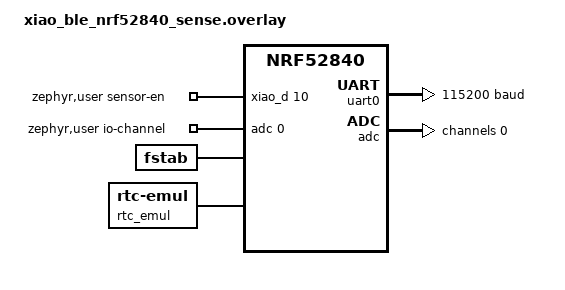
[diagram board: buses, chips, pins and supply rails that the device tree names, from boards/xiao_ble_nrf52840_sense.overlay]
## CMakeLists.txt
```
# SPDX-License-Identifier: Apache-2.0
cmake_minimum_required(VERSION 3.20.0)

find_package(Zephyr REQUIRED HINTS $ENV{ZEPHYR_BASE})
project(snowgauge_fw LANGUAGES C)

target_sources(app PRIVATE
  src/main.c
  src/sensor_rail.c
  src/lidar.c
  src/battery.c
  src/tilt_lsm6dsl.c
  src/power.c
  src/usb_pm.c
  src/measure.c
  src/record.c
  src/timekeeping.c
  src/storage.c
  src/ble_adv.c
  src/smp_mgmt.c
  src/config.c
  src/cal_gatt.c
  src/shell_cmds.c
  src/diag.c
  src/wdt_mon.c
)
# Sensor backend (Kconfig choice SNOWGAUGE_SENSOR; overlay-tsd20.conf selects the TSD20)
target_sources_ifdef(CONFIG_SNOWGAUGE_SENSOR_TFMINI app PRIVATE src/tfmini.c)
target_sources_ifdef(CONFIG_SNOWGAUGE_SENSOR_TSD20 app PRIVATE src/tsd20.c)
```

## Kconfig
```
# SnowGauge application options

menu "SnowGauge application"

choice SNOWGAUGE_SENSOR
	prompt "Distance sensor (hardware variant, spec section 3.2)"
	default SNOWGAUGE_SENSOR_TFMINI
	help
	  Both variants share PCB v1.2; only U2 (sensor LDO) and the sensor
	  differ. Select with overlay-tsd20.conf for the TSD20 build.

config SNOWGAUGE_SENSOR_TFMINI
	bool "Benewake TFmini Plus (5 V, U2 = NJU7223F50, 115200 baud)"

config SNOWGAUGE_SENSOR_TSD20
	bool "PONO TSD20 (3.3 V, U2 = NJU7223F33, 460800 baud)"

endchoice

config SNOWGAUGE_RAIL_SETTLE_MS
	int "Sensor rail settle time before touching the UART (ms)"
	default 300
	help
	  Delay between driving SENSOR_EN high and resuming the sensor UART.
	  Covers LDO start-up, the 470uF OS-CON charge and the sensor boot.

config SNOWGAUGE_LIDAR_SAMPLES
	int "Number of LiDAR frames per measurement (N)"
	default 100
	range 1 512
	help
	  Frames collected per measurement cycle; the median, variance and
	  quality counters are computed over this burst. 100 frames take
	  about 1 s on the TFmini Plus (100 Hz) and 0.5 s on the TSD20 (200 Hz).

config SNOWGAUGE_LIDAR_CAPTURE_TIMEOUT_MS
	int "Maximum time to wait for the N frames (ms)"
	default 3000

config SNOWGAUGE_LIDAR_RETRY
	bool "Power-cycle the sensor and retry once when a capture yields no frames"
	default y
	help
	  A sensor that does not answer at all (0 frames within the capture
	  timeout) is switched off for SNOWGAUGE_LIDAR_RETRY_OFF_MS and the
	  capture is repeated once. The record then carries the RETRIED flag.

config SNOWGAUGE_LIDAR_RETRY_OFF_MS
	int "Sensor rail off time before the retry (ms)"
	default 1000
	depends on SNOWGAUGE_LIDAR_RETRY

config SNOWGAUGE_TIME_SAVE_MIN
	int "Period of the wall-clock checkpoint in the settings (min, 0 = off)"
	default 60
	help
	  The clock is lost on reset and otherwise restored from the newest
	  record only. Saving it periodically (NVS key sgt/epoch) bounds the
	  error after a watchdog reset to this period even when no record was
	  written for days.

config SNOWGAUGE_TFMINI_MIN_STRENGTH
	int "Minimum TFmini signal strength for a distance to count as valid"
	default 100
	depends on SNOWGAUGE_SENSOR_TFMINI
	help
	  Benewake documents distances as unreliable below a strength of 100.

choice SNOWGAUGE_SENSOR_AXIS
	prompt "Direction of the LiDAR optical axis in the IMU frame"
	default SNOWGAUGE_SENSOR_AXIS_NEG_Y
	help
	  The tilt angle is measured between gravity and this axis, so it is
	  the deviation of the laser from nadir whatever way the PCB is mounted.

config SNOWGAUGE_SENSOR_AXIS_NEG_Y
	bool "IMU -Y points down: PCB vertical, USB to the left, sensor terminal J2 up (enclosure v1)"
	help
	  Mounting orientation since 2026-09-11 (180 deg in-plane from the
	  earlier one): USB to the left, J2 up, battery terminal J1 to the
	  right, D0-D6 (TX) pin row down. The accelerometer then reads
	  a = (0, +1, 0) g, i.e. -Y points down along the laser (it reads
	  +1 g on the axis that points up). pitch = component toward +X
	  (in-plane, battery side), roll = component toward +Z (out of plane,
	  component side).

config SNOWGAUGE_SENSOR_AXIS_POS_Y
	bool "IMU +Y points down: PCB vertical, USB to the right, D0-D6 (TX) pin row up"
	help
	  The mirror image of the above, used between 2026-09-07 and
	  2026-09-11: the accelerometer reads a = (0, -1, 0) g. pitch and roll
	  keep their meaning (+X in-plane, +Z out of plane).

config SNOWGAUGE_SENSOR_AXIS_Z
	bool "IMU +/-Z: PCB horizontal (flat breadboard on the bench)"
	help
	  Either face up. pitch = component toward +X, roll = toward +Y.
	  Firmware before 2026-09-07 always used this.

endchoice

config SNOWGAUGE_TILT_SAMPLES
	int "Accelerometer samples averaged per tilt reading"
	default 16
	range 1 255

config SNOWGAUGE_IMU_POWER_GATE
	bool "Cut the IMU supply between readings"
	default y
	help
	  Disable the on-board LSM6DS3TR-C regulator (P1.08) while idle instead
	  of relying on the chip's power-down mode.

config SNOWGAUGE_AUTO_MEASURE_PERIOD_S
	int "Automatic measurement period at boot (s, 0 = shell only)"
	default 0
	help
	  When non-zero the firmware runs a full measurement cycle every N
	  seconds without any shell interaction. Can be changed at run time
	  with the 'auto' shell command.

config SNOWGAUGE_BLE_ADV_INT_MIN_MS
	int "BLE advertising interval, minimum (ms)"
	default 1000
	range 20 10240
	help
	  Spec section 12.2: 1-2 s. The interval is the main BLE power knob;
	  can be changed at run time with the 'ble adv' shell command.

config SNOWGAUGE_BLE_ADV_INT_MAX_MS
	int "BLE advertising interval, maximum (ms)"
	default 2000
	range 20 10240

config SNOWGAUGE_VBAT_MIN_MV
	int "Minimum battery voltage for a LiDAR capture (mV)"
	default 4600 if SNOWGAUGE_SENSOR_TFMINI
	default 3800 if SNOWGAUGE_SENSOR_TSD20
	help
	  Below this the sensor LDO is out of regulation and the capture burst
	  can brown out the board; the measurement then records only Vbat,
	  tilt and temperature. TFmini Plus: 5 V LDO + 120 mA. TSD20: 3.3 V
	  LDO (0.4 V dropout) + 70 mA, i.e. nearly the whole L91 capacity.

config SNOWGAUGE_BOOT_HOLDOFF_MIN
	int "Delay of the first scheduled measurement after a reset (min)"
	default 10
	help
	  A reset restores the clock from the last record, which would make the
	  scheduler fire immediately (and again after every brown-out reset).
	  The first scheduled measurement is held off by this many minutes,
	  multiplied by the boot count since the last stored, non-skipped burst
	  or BLE connection (multiplier capped at 12).

config SNOWGAUGE_BOOT_MAX_RESETS
	int "Consecutive resets after which scheduled measurements are halted"
	default 12
	range 2 15
	help
	  Counted in NVS, cleared after a sensor rail burst is attempted and its
	  record is stored, or on BLE connection. Low-battery skips do not clear
	  it; valid distance data is not required. At this count scheduled
	  measurements halt while BLE keeps advertising. A BLE connection drops
	  the halt; a stored, non-skipped manual burst followed by reboot also
	  recovers. Reboot alone does not:
	  a reset loop (brown-out, crash) then cannot drain the cells.

config SNOWGAUGE_WDT_TIMEOUT_S
	int "Hardware watchdog timeout (s)"
	default 120
	range 30 3600
	help
	  Fed every quarter of this period by the supervisor in wdt_mon.c while
	  all subsystems are alive. Must be comfortably longer than the
	  bootloader's start-up (it feeds the WDT itself only in the DFU wait
	  loop) and the longest sensor capture.

config SNOWGAUGE_SCHED_DEFAULT_INTERVAL_MIN
	int "Default measurement interval until configured (min, 0 = off)"
	default 180
	help
	  Spec: 8 measurements/day. Overridden by the stored sg/sched/* settings.

config SNOWGAUGE_SCHED_DEFAULT_TZ_MIN
	int "Default UTC offset of the site (min)"
	default 540

endmenu

source "Kconfig.zephyr"
```

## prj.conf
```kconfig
# SnowGauge firmware - step 1: scaffold + TFmini UART test
# Board: xiao_ble/nrf52840/sense  (Seeed XIAO nRF52840 Sense)

# --- Peripherals ---
CONFIG_GPIO=y
CONFIG_SERIAL=y
CONFIG_UART_INTERRUPT_DRIVEN=y
# lidar_init() sets the sensor baud rate at run time (TFmini 115200 / TSD20 460800);
# without this uart_configure() returns -ENOTSUP and the DT rate (115200) stays.
CONFIG_UART_USE_RUNTIME_CONFIGURE=y
CONFIG_ADC=y
CONFIG_RING_BUFFER=y

# On-board IMU (LSM6DS3TR-C on i2c0) via the lsm6dsl driver; accel only
CONFIG_I2C=y
CONFIG_SENSOR=y
CONFIG_LSM6DSL_ENABLE_TEMP=y
CONFIG_FPU=y

# QSPI flash driver so it can be put into deep power-down (records later)
CONFIG_FLASH=y
CONFIG_NORDIC_QSPI_NOR=y

# Device power management: lets us suspend the TFmini UART so that its
# pins go Hi-Z before the sensor rail is cut (ghost-powering countermeasure,
# spec section 12.3).
CONFIG_PM_DEVICE=y

# --- Console / shell over USB CDC ACM ---
# The xiao_ble board already routes zephyr,console / zephyr,shell-uart to a
# CDC ACM instance (USB device_next stack, initialized at boot).
CONFIG_CDC_ACM_SERIAL_PRODUCT_STRING="SnowGauge"
# Do not enable USB at boot: udc_nrf keeps HFXO + USBD on regardless of VBUS
# (~1.8 mA). usb_pm.c enables the device only while VBUS is present.
CONFIG_CDC_ACM_SERIAL_ENABLE_AT_BOOT=n
CONFIG_UART_LINE_CTRL=y
CONFIG_SHELL=y
CONFIG_SHELL_BACKEND_SERIAL=y
CONFIG_SHELL_PROMPT_UART="sg:~$ "
CONFIG_LOG=y
CONFIG_LOG_DEFAULT_LEVEL=3
CONFIG_CBPRINTF_FP_SUPPORT=y

# --- Misc ---
CONFIG_MAIN_STACK_SIZE=4096
CONFIG_SHELL_STACK_SIZE=4096
CONFIG_BUILD_OUTPUT_UF2=y
CONFIG_REBOOT=y
# Hardware watchdog (wdt_mon.c) + boot diagnostics (diag.c: reset cause via hwinfo,
# fatal errors reboot instead of halting - our own k_sys_fatal_error_handler, so
# CONFIG_RESET_ON_FATAL_ERROR stays off).
CONFIG_WATCHDOG=y

# Debug helpers
CONFIG_SENSOR_SHELL=y
CONFIG_DEVICE_SHELL=y

# --- Record storage (step 4a) ---
# LittleFS on the QSPI flash; internal-flash mirror through flash_map.
CONFIG_FILE_SYSTEM=y
CONFIG_FILE_SYSTEM_LITTLEFS=y
CONFIG_FLASH_MAP=y
CONFIG_FLASH_PAGE_LAYOUT=y
CONFIG_FS_LITTLEFS_NUM_FILES=2
CONFIG_FS_LITTLEFS_NUM_DIRS=2
# QSPI flash: runtime PM = deep power-down between accesses (see overlay).
CONFIG_PM_DEVICE_RUNTIME=y
# Only devices with zephyr,pm-device-runtime-auto (the QSPI flash) get runtime
# PM. The Nordic default would enable it for every device, and the UARTE
# driver would then re-activate the TFmini UART (TX high) while the rail is
# off - the ghost-powering case sensor_rail.c exists to prevent.
CONFIG_PM_DEVICE_RUNTIME_DEFAULT_ENABLE=n
CONFIG_NORDIC_QSPI_NOR_ACTIVE_DWELL_MS=50
# Wall clock: emulated RTC behind the `rtc` alias (timekeeping.c).
CONFIG_RTC=y
# CRC-16 for the record checksum
CONFIG_CRC=y

# --- BLE (step 4b: status advertising; SMP + calibration GATT follow) ---
CONFIG_BT=y
CONFIG_BT_PERIPHERAL=y
CONFIG_BT_DEVICE_NAME="SnowGauge"
CONFIG_BT_DEVICE_NAME_DYNAMIC=y
CONFIG_BT_DEVICE_NAME_MAX=16
CONFIG_BT_MAX_CONN=1
CONFIG_HWINFO=y
# Larger ACL / L2CAP buffers so SMP file download runs at a usable speed
CONFIG_BT_L2CAP_TX_MTU=498
CONFIG_BT_BUF_ACL_RX_SIZE=502
CONFIG_BT_BUF_ACL_TX_SIZE=502
CONFIG_BT_CTLR_DATA_LENGTH_MAX=251

# --- SMP / mcumgr over BLE (step 4c): fs download + os datetime/echo/reset ---
CONFIG_NET_BUF=y
CONFIG_ZCBOR=y
CONFIG_MCUMGR=y
CONFIG_MCUMGR_TRANSPORT_BT=y
CONFIG_MCUMGR_TRANSPORT_BT_PERM_RW=y
CONFIG_MCUMGR_TRANSPORT_BT_CONN_PARAM_CONTROL=y
CONFIG_MCUMGR_TRANSPORT_BT_REASSEMBLY=y
CONFIG_MCUMGR_TRANSPORT_NETBUF_SIZE=2475
CONFIG_MCUMGR_TRANSPORT_WORKQUEUE_STACK_SIZE=4608
CONFIG_MCUMGR_GRP_OS=y
CONFIG_MCUMGR_GRP_OS_ECHO=y
CONFIG_MCUMGR_GRP_OS_DATETIME=y
CONFIG_MCUMGR_GRP_OS_DATETIME_HOOK=y
CONFIG_MCUMGR_GRP_OS_MCUMGR_PARAMS=y
CONFIG_MCUMGR_GRP_OS_INFO=y
CONFIG_MCUMGR_GRP_FS=y
CONFIG_MCUMGR_GRP_FS_MAX_FILE_SIZE_4GB=y
CONFIG_MCUMGR_GRP_FS_FILE_ACCESS_HOOK=y
CONFIG_MCUMGR_MGMT_NOTIFICATION_HOOKS=y
CONFIG_BASE64=y
CONFIG_SYSTEM_WORKQUEUE_STACK_SIZE=2304
# SMP also over the USB shell (bench: smpmgr/smpclient on the dev PC, e.g. datetime)
CONFIG_MCUMGR_TRANSPORT_SHELL=y

# --- Settings (step 4d): schedule + calibration in the internal storage partition ---
CONFIG_NVS=y
CONFIG_SETTINGS=y
CONFIG_SETTINGS_NVS=y
CONFIG_SETTINGS_RUNTIME=y
CONFIG_MCUMGR_GRP_SETTINGS=y
CONFIG_MCUMGR_GRP_SETTINGS_NAME_LEN=32
CONFIG_MCUMGR_GRP_SETTINGS_VALUE_LEN=32
# Calibration GATT
CONFIG_BT_GATT_CLIENT=n
```

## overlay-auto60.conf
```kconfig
# Sleep-current test build: measure every 60 s without any shell interaction.
# west build ... -- -DEXTRA_CONF_FILE=overlay-auto60.conf
CONFIG_SNOWGAUGE_AUTO_MEASURE_PERIOD_S=60
```

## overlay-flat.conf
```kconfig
# Bench variant: PCB lying flat (breadboard), LiDAR axis = IMU Z.
# Build with -- -DEXTRA_CONF_FILE=overlay-flat.conf (combine with the sensor overlay if needed).
CONFIG_SNOWGAUGE_SENSOR_AXIS_Z=y
```

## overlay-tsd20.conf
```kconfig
# TSD20 hardware variant: U2 = NJU7223F33 (3.3 V sensor rail), PONO TSD20 on D6/D7.
# west build ... -- -DEXTRA_CONF_FILE=overlay-tsd20.conf
# (combine with overlay-auto60.conf via -DEXTRA_CONF_FILE="overlay-tsd20.conf;overlay-auto60.conf")
CONFIG_SNOWGAUGE_SENSOR_TSD20=y
```

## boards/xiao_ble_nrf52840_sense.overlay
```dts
/*
 * SnowGauge board overlay for Seeed XIAO nRF52840 Sense on PCB v1.2.
 * Pin map source of truth: pcb/README.md
 *
 *   D10 (P1.15) SENSOR_EN  high = sensor rail ON (Q2 -> Q1 high-side switch)
 *   A0  (P0.02) ADC_NODE   VBAT_SW / 2 (1M + 1M divider, 0 V while rail off)
 *   D6  (P1.11) UART TX    -> 1k (R7) -> sensor RX (TFmini white / TSD20 pin 4)
 *   D7  (P1.12) UART RX    <- sensor TX (TFmini green / TSD20 pin 3)
 *   D4/D5       I2C        spare header J3
 */

#include <zephyr/dt-bindings/adc/adc.h>
#include <zephyr/dt-bindings/adc/nrf-adc.h>

/ {
	/*
	 * Console + shell: the board already routes zephyr,console and
	 * zephyr,shell-uart to USB CDC ACM (board_cdc_acm_uart), so uart0 is free
	 * for the distance sensor.
	 */

	zephyr,user {
		sensor-en-gpios = <&xiao_d 10 GPIO_ACTIVE_HIGH>;
		io-channels = <&adc 0>;
	};

	aliases {
		lidar-uart = &uart0;
	};
};

/*
 * Distance sensor UART (board default pins D6/D7). The rate here is the
 * TFmini Plus one; lidar_init() reconfigures it at run time from the
 * selected backend (TSD20 = 460800).
 */
&uart0 {
	status = "okay";
	current-speed = <115200>;
};

&adc {
	status = "okay";
	#address-cells = <1>;
	#size-cells = <0>;

	/*
	 * Battery divider on A0. Full scale = 0.6 V * 6 = 3.6 V, which covers
	 * VBAT_SW/2 up to 7.2 V (fresh L91 x4). The 500k source impedance
	 * needs the longest SAADC acquisition time (40 us, good to 800k).
	 */
	channel@0 {
		reg = <0>;
		zephyr,gain = "ADC_GAIN_1_6";
		zephyr,reference = "ADC_REF_INTERNAL";
		zephyr,acquisition-time = <ADC_ACQ_TIME(ADC_ACQ_TIME_MICROSECONDS, 40)>;
		zephyr,input-positive = <NRF_SAADC_AIN0>;
		zephyr,resolution = <12>;
		zephyr,oversampling = <4>;
	};
};


/*
 * The on-board IMU is powered by a GPIO regulator that the board enables
 * at boot with only a 3 ms start-up delay; the LSM6DS3TR-C needs ~15 ms
 * before it answers on I2C, so its driver init fails when run from the
 * init tables. Defer it and let tilt_init() initialise it after a delay.
 */
&lsm6ds3tr_c {
	zephyr,deferred-init;
};

/*
 * Record storage (step 4a).
 *
 * QSPI (2 MB P25Q16H): one LittleFS partition over the whole chip. The
 * driver uses runtime PM so the chip sits in deep power-down between
 * accesses (~1 uA) without any help from the application.
 */
&p25q16h {
	zephyr,pm-device-runtime-auto;

	partitions {
		compatible = "fixed-partitions";
		#address-cells = <1>;
		#size-cells = <1>;

		lfs1_part: partition@0 {
			label = "lfs";
			reg = <0x00000000 0x00200000>;
		};
	};
};

/ {
	fstab {
		compatible = "zephyr,fstab";

		lfs1: lfs1 {
			compatible = "zephyr,fstab,littlefs";
			mount-point = "/lfs1";
			partition = <&lfs1_part>;
			read-size = <16>;
			prog-size = <16>;
			cache-size = <64>;
			lookahead-size = <32>;
			block-cycles = <512>;
		};
	};

	/* Emulated calendar clock behind the `rtc` alias (timekeeping.c, mcumgr datetime). */
	rtc_emul: rtc-emul {
		compatible = "zephyr,rtc-emul";
		status = "okay";
	};

	aliases {
		rtc = &rtc_emul;
	};
};

/*
 * Internal flash (1 MB). The board's UF2 layout gives the application
 * 788 kB; SnowGauge needs < 480 kB even with BLE, so the tail of that
 * region becomes the record mirror (308 kB = 7,884 records of 40 B).
 *
 *   0x00000  156 kB  Adafruit bootloader + SoftDevice area (untouched)
 *   0x27000  480 kB  Application (this image)
 *   0x9F000  308 kB  mirror_partition (raw append-only records)
 *   0xEC000   32 kB  storage_partition (settings, future calibration data)
 *   0xF4000   48 kB  bootloader UF2 area (untouched)
 */
&code_partition {
	reg = <0x00027000 0x00078000>;
};

&flash0 {
	partitions {
		mirror_partition: partition@9f000 {
			label = "mirror";
			reg = <0x0009f000 0x0004d000>;
		};
	};
};
```

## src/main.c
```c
/*
 * SnowGauge firmware.
 *
 * Boots with the sensor rail off and the sensor UART parked (Hi-Z), opens a
 * shell on USB CDC ACM, and optionally runs a measurement cycle every
 * CONFIG_SNOWGAUGE_AUTO_MEASURE_PERIOD_S seconds.
 */

#include <zephyr/kernel.h>
#include <nrfx.h>
#include <zephyr/logging/log.h>
#include <zephyr/sys/printk.h>
#include <stdarg.h>
#include <stdio.h>
#include <stdbool.h>

#include "app.h"
#include "sensor_rail.h"
#include "lidar.h"
#include "battery.h"
#include "measure.h"
#include "tilt.h"
#include "power.h"
#include "usb_pm.h"
#include "record.h"
#include "storage.h"
#include "timekeeping.h"
#include "ble_adv.h"
#include "config.h"
#include "cal_gatt.h"
#include "diag.h"
#include "wdt_mon.h"

LOG_MODULE_REGISTER(main, CONFIG_LOG_DEFAULT_LEVEL);

static K_SEM_DEFINE(period_changed, 0, 1);
static uint32_t auto_period_s = CONFIG_SNOWGAUGE_AUTO_MEASURE_PERIOD_S;

static void config_changed(void)
{
	k_sem_give(&period_changed);
}

void app_wake_scheduler(void)
{
	k_sem_give(&period_changed);
}

void app_set_auto_period(uint32_t seconds)
{
	auto_period_s = seconds;
	k_sem_give(&period_changed);
}

uint32_t app_get_auto_period(void)
{
	return auto_period_s;
}

static bool first_record_after_boot = true;

int app_measure_and_store(bool manual, struct measurement *m_out, struct record *r_out)
{
	struct measurement m;
	struct record r;
	uint32_t epoch = 0;
	int ret;

	wdt_mon_alive(WDT_CH_MEASURE, WDT_MEASURE_TIMEOUT_S);
	ret = measure_once(&m);
	if (m_out) {
		*m_out = m;
	}
	if (ret) {
		LOG_ERR("measurement failed (%d) - not stored", ret);
		(void)ble_adv_update(true);
		wdt_mon_disarm(WDT_CH_MEASURE);
		return ret;
	}

	record_from_measurement(&r, &m);
	if (time_now(&epoch) == 0) {
		r.epoch = epoch;
		r.flags |= (time_get_state() == TIME_SYNCED) ? RECORD_FLAG_TIME_SYNCED
							     : RECORD_FLAG_TIME_ESTIMATED;
	}
	if (manual) {
		r.flags |= RECORD_FLAG_MANUAL;
	}
	if (first_record_after_boot) {
		r.flags |= RECORD_FLAG_FIRST_AFTER_BOOT;
		first_record_after_boot = false;
	}
	r.seq = storage_next_seq();

	ret = storage_append(&r);
	if (ret) {
		LOG_ERR("record %u not stored (%d)", r.seq, ret);
	} else if (m.lidar_ret != -ENOTSUP) {
		/*
		 * Surviving the full-load rail burst and storing its record is the
		 * proof, regardless of distance validity; a low-battery skip is not.
		 */
		diag_measure_succeeded();
	}
	if (r_out) {
		*r_out = r;
	}
	(void)ble_adv_update(ret != 0);
	wdt_mon_disarm(WDT_CH_MEASURE);
	return ret;
}

static void printk_out(void *ctx, const char *fmt, ...)
{
	ARG_UNUSED(ctx);
	va_list ap;
	char line[160];

	va_start(ap, fmt);
	vsnprintf(line, sizeof(line), fmt, ap);
	va_end(ap);
	LOG_INF("%s", line);
}

int main(void)
{
	int ret;

	LOG_INF("SnowGauge FW (step 5: %s variant) - board " CONFIG_BOARD_TARGET, lidar_name());
	diag_init();

	ret = sensor_rail_init();
	if (ret) {
		LOG_ERR("sensor_rail_init: %d", ret);
	}
	ret = lidar_init();
	if (ret) {
		LOG_ERR("lidar_init: %d", ret);
	}
	ret = battery_init();
	if (ret) {
		LOG_ERR("battery_init: %d", ret);
	}
	ret = tilt_init();
	if (ret) {
		LOG_ERR("tilt_init: %d", ret);
	}
	ret = power_init();
	if (ret) {
		LOG_ERR("power_init: %d", ret);
	}
	ret = time_init();
	if (ret) {
		LOG_ERR("time_init: %d", ret);
	}
	ret = storage_init();
	if (ret) {
		LOG_ERR("storage_init: %d", ret);
	}
	ret = config_init();
	if (ret) {
		LOG_ERR("config_init: %d", ret);
	}
	(void)diag_count_boot(); /* needs the settings subsystem (config_init) */
	(void)time_restore_saved();
	(void)diag_log_boot();
	config_set_change_cb(config_changed);
	ret = ble_adv_init();
	if (ret) {
		LOG_ERR("ble_adv_init: %d", ret);
	}
	ret = cal_gatt_init();
	if (ret) {
		LOG_ERR("cal_gatt_init: %d", ret);
	}
	ret = usb_pm_init();
	if (ret) {
		LOG_ERR("usb_pm_init: %d", ret);
	}
	ret = wdt_mon_init();
	if (ret) {
		LOG_ERR("wdt_mon_init: %d", ret);
	}

	LOG_INF("ready - type 'help' in the USB shell (rail is OFF)");

	bool first = true;

	for (;;) {
		uint32_t period = auto_period_s;

		wdt_mon_alive(WDT_CH_MAIN, WDT_MAIN_TIMEOUT_S);
		if (diag_measure_halted()) {
			/* Reset loop: stay reachable over BLE, do not measure. */
			k_sem_take(&period_changed, K_MINUTES(10));
			first = true;
			continue;
		}
		if (period != 0) {
			/* Bench mode: fixed period from the shell / Kconfig. */
			if (!first && k_sem_take(&period_changed, K_SECONDS(period)) == 0) {
				first = true;
				continue;
			}
			first = false;
		} else {
			/* Field mode: schedule window from the settings, needs the clock. */
			uint32_t now, next;
			struct app_config c;

			config_get(&c);
			if (c.sched_interval_min == 0) {
				k_sem_take(&period_changed, K_MINUTES(10));
				first = true;
				continue;
			}
			/* Hold-off after a reset (see diag_init). */
			int64_t left_ms = (int64_t)diag_holdoff_until_s() * 1000 - k_uptime_get();

			if (left_ms > 0) {
				if (k_sem_take(&period_changed, K_MSEC(MIN(left_ms, 3600000))) == 0) {
					first = true;
				}
				continue;
			}
			if (time_now(&now) != 0) {
				/*
				 * Clock never set (sync forgotten at installation): still
				 * measure every interval from boot so nothing is lost; the
				 * records land in rec_notime.bin, ordered by seq.
				 */
				if (!first && k_sem_take(&period_changed, K_MINUTES(c.sched_interval_min)) == 0) {
					first = true;
					continue;
				}
				first = false;
				LOG_WRN("clock unset - measuring on the interval from boot");
			} else if ((next = config_next_measurement(now)) == 0) {
				k_sem_take(&period_changed, K_MINUTES(10));
				first = true;
				continue;
			} else if (next > now) {
				uint32_t wait_s = MIN(next - now, 3600U);

				if (k_sem_take(&period_changed, K_SECONDS(wait_s)) == 0 ||
				    wait_s < next - now) {
					continue; /* config changed, or re-evaluate hourly */
				}
			}
		}

		struct measurement m;
		struct record r;

		if (cal_live_is_on()) {
			LOG_WRN("scheduled measurement skipped: live mode active");
			k_sleep(K_SECONDS(60));
			continue;
		}
		led_pulse(50);
		if (app_measure_and_store(false, &m, &r) == 0) {
			LOG_INF("record %u stored (%u total)", r.seq, storage_record_count());
		}
		measure_print(&m, printk_out, NULL);
	}
	return 0;
}
```

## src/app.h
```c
/* Application-level state shared between main and the shell. */
#ifndef SNOWGAUGE_APP_H
#define SNOWGAUGE_APP_H

#include <stdint.h>
#include <stdbool.h>

#include "measure.h"
#include "record.h"

void app_set_auto_period(uint32_t seconds);
void app_wake_scheduler(void);
uint32_t app_get_auto_period(void);

/*
 * Run one measurement cycle and store it as a record (LittleFS + mirror).
 * manual = true marks shell/BLE-triggered records. *m / *r may be NULL.
 * Returns the storage result (0 = stored) or the measurement error.
 */
int app_measure_and_store(bool manual, struct measurement *m, struct record *r);

#endif /* SNOWGAUGE_APP_H */
```

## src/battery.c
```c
/* Battery voltage measurement - see battery.h */

#include <zephyr/kernel.h>
#include <zephyr/drivers/adc.h>
#include <zephyr/logging/log.h>
#include <errno.h>

#include "battery.h"
#include "sensor_rail.h"

LOG_MODULE_REGISTER(battery, CONFIG_LOG_DEFAULT_LEVEL);

#define DIVIDER_RATIO 2 /* 1M + 1M */

static const struct adc_dt_spec adc_node =
	ADC_DT_SPEC_GET_BY_IDX(DT_PATH(zephyr_user), 0);

int battery_init(void)
{
	int ret;

	if (!adc_is_ready_dt(&adc_node)) {
		LOG_ERR("ADC not ready");
		return -ENODEV;
	}
	ret = adc_channel_setup_dt(&adc_node);
	if (ret) {
		LOG_ERR("ADC channel setup failed (%d)", ret);
	}
	return ret;
}

int battery_read_mv(uint16_t *vbat_mv)
{
	int16_t raw;
	int32_t mv;
	int ret;
	struct adc_sequence seq = {
		.buffer = &raw,
		.buffer_size = sizeof(raw),
	};

	if (!sensor_rail_is_on()) {
		return -EBUSY;
	}

	ret = adc_sequence_init_dt(&adc_node, &seq);
	if (ret) {
		return ret;
	}
	ret = adc_read_dt(&adc_node, &seq);
	if (ret) {
		LOG_ERR("ADC read failed (%d)", ret);
		return ret;
	}

	mv = raw;
	ret = adc_raw_to_millivolts_dt(&adc_node, &mv);
	if (ret) {
		return ret;
	}
	if (mv < 0) {
		mv = 0;
	}
	*vbat_mv = (uint16_t)(mv * DIVIDER_RATIO);
	LOG_DBG("raw=%d node=%d mV vbat=%u mV", raw, mv, *vbat_mv);
	return 0;
}
```

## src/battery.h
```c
/*
 * Battery voltage via the 1M + 1M divider on A0.
 *
 * PCB v1.2 hangs the divider on VBAT_SW, so the sensor rail must be on
 * while reading (the node sits at 0 V otherwise). Vbat = 2 x node voltage.
 */
#ifndef SNOWGAUGE_BATTERY_H
#define SNOWGAUGE_BATTERY_H

#include <stdint.h>

int battery_init(void);

/*
 * Read the battery voltage in mV. Returns 0, -EBUSY if the sensor rail is
 * off, or a negative errno from the ADC.
 */
int battery_read_mv(uint16_t *vbat_mv);

#endif /* SNOWGAUGE_BATTERY_H */
```

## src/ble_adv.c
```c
/* BLE advertising - see ble_adv.h */

#include <zephyr/kernel.h>
#include <zephyr/bluetooth/bluetooth.h>
#include <zephyr/bluetooth/conn.h>
#include <zephyr/bluetooth/gap.h>
#include <zephyr/drivers/hwinfo.h>
#include <zephyr/mgmt/mcumgr/transport/smp_bt.h>
#include <zephyr/sys/byteorder.h>
#include <zephyr/logging/log.h>
#include <stdio.h>
#include <string.h>

#include "ble_adv.h"
#include "storage.h"
#include "timekeeping.h"
#include "record.h"
#include "cal_gatt.h"
#include "diag.h"
#include "app.h"

LOG_MODULE_REGISTER(ble_adv, CONFIG_LOG_DEFAULT_LEVEL);

#define MFG_LEN 18

static uint8_t mfg[2 + MFG_LEN];
static char name[CONFIG_BT_DEVICE_NAME_MAX + 1];
static struct bt_le_adv_param param;
static bool advertising;
static bool connected;
static uint32_t cur_min_ms, cur_max_ms;

static const struct bt_data ad[] = {
	BT_DATA_BYTES(BT_DATA_FLAGS, BT_LE_AD_GENERAL | BT_LE_AD_NO_BREDR),
	BT_DATA(BT_DATA_MANUFACTURER_DATA, mfg, sizeof(mfg)),
};

static struct bt_data sd[] = {
	BT_DATA(BT_DATA_NAME_COMPLETE, name, 0), /* length filled at init */
	BT_DATA_BYTES(BT_DATA_UUID128_ALL, SMP_BT_SVC_UUID_VAL),
};

static void build_payload(bool last_failed)
{
	struct record last;
	bool have_last = (storage_last_record(&last) == 0);
	uint8_t flags = 0;
	int64_t up_h = k_uptime_get() / (3600LL * 1000LL);

	switch (time_get_state()) {
	case TIME_SYNCED:
		flags |= BLE_ADV_FLAG_TIME_SYNCED;
		break;
	case TIME_ESTIMATED:
		flags |= BLE_ADV_FLAG_TIME_ESTIMATED;
		break;
	default:
		break;
	}
	if (have_last && (last.flags & RECORD_FLAG_LIDAR_OK)) {
		flags |= BLE_ADV_FLAG_LAST_LIDAR_OK;
	}
	if (storage_fs_ok()) {
		flags |= BLE_ADV_FLAG_FS_OK;
	}
	if (storage_mirror_count() >= storage_mirror_capacity()) {
		flags |= BLE_ADV_FLAG_MIRROR_FULL;
	}
	if (last_failed) {
		flags |= BLE_ADV_FLAG_LAST_MEAS_ERR;
	}
	const struct diag_boot *boot = diag_boot_info();

	if (boot->abnormal) {
		flags |= BLE_ADV_FLAG_ABNORMAL_RESET;
	}
	if (boot->halted) {
		flags |= BLE_ADV_FLAG_MEAS_HALTED;
	}

	sys_put_le16(BLE_ADV_COMPANY_ID, &mfg[0]);
	uint8_t *p = &mfg[2];

	p[0] = BLE_ADV_PAYLOAD_VERSION;
	sys_put_le16(have_last ? last.vbat_end_mv : 0, &p[1]);
	sys_put_le32(storage_record_count(), &p[3]);
	sys_put_le16(have_last ? last.dist_median_cm : 0xFFFF, &p[7]);
	p[9] = flags;
	sys_put_le32(have_last ? last.epoch : 0, &p[10]);
	sys_put_le16((uint16_t)MIN(up_h, 0xFFFF), &p[14]);
	p[16] = boot->boot_count;
	p[17] = (uint8_t)boot->reset;
}

static int adv_start(void)
{
	int ret;

	if (cur_max_ms == 0) {
		return 0;
	}
	param.id = BT_ID_DEFAULT;
	param.sid = 0;
	param.secondary_max_skip = 0;
	param.options = BT_LE_ADV_OPT_CONN;
	param.interval_min = (uint32_t)(cur_min_ms * 1000 / 625); /* 0.625 ms units */
	param.interval_max = (uint32_t)(cur_max_ms * 1000 / 625);
	param.peer = NULL;

	ret = bt_le_adv_start(&param, ad, ARRAY_SIZE(ad), sd, ARRAY_SIZE(sd));
	if (ret && ret != -EALREADY) {
		LOG_ERR("adv start: %d", ret);
		return ret;
	}
	advertising = true;
	return 0;
}

/* Off the BT RX thread: diag_user_present() writes the settings (flash). */
static void user_present_fn(struct k_work *work)
{
	ARG_UNUSED(work);
	if (diag_user_present()) {
		app_wake_scheduler();
	}
}
static K_WORK_DEFINE(user_present_work, user_present_fn);

static void on_connected(struct bt_conn *conn, uint8_t err)
{
	ARG_UNUSED(conn);
	connected = (err == 0);
	LOG_INF("BLE connected (err %u)", err);
	if (connected) {
		k_work_submit(&user_present_work);
	}
}

/*
 * Restart advertising after a disconnect from the system work queue (not
 * from the connection callback): stop first so that the host's own
 * "resume" bookkeeping cannot leave us with adv reported on but not
 * actually running.
 */
static void adv_restart_work_fn(struct k_work *work)
{
	ARG_UNUSED(work);
	if (cur_max_ms == 0) {
		return;
	}
	(void)bt_le_adv_stop();
	advertising = false;
	(void)adv_start();
	LOG_INF("advertising restarted");
}
static K_WORK_DELAYABLE_DEFINE(adv_restart_work, adv_restart_work_fn);

static void on_disconnected(struct bt_conn *conn, uint8_t reason)
{
	ARG_UNUSED(conn);
	connected = false;
	LOG_INF("BLE disconnected (reason 0x%02x)", reason);
	/* The phone went away: never leave the sensor rail on for the live view. */
	cal_live_stop();
	k_work_schedule(&adv_restart_work, K_MSEC(200));
}

BT_CONN_CB_DEFINE(conn_cbs) = {
	.connected = on_connected,
	.disconnected = on_disconnected,
};

int ble_adv_init(void)
{
	uint8_t id[8] = { 0 };
	int ret;

	ret = bt_enable(NULL);
	if (ret) {
		LOG_ERR("bt_enable: %d", ret);
		return ret;
	}

	(void)hwinfo_get_device_id(id, sizeof(id));
	/* SG-<sensor>-XXXX: SG-TFM = TFmini Plus build, SG-TSD = TSD20 build (11 chars, max 16). */
	snprintf(name, sizeof(name), "SG-%s-%02X%02X",
		 IS_ENABLED(CONFIG_SNOWGAUGE_SENSOR_TSD20) ? "TSD" : "TFM", id[6], id[7]);
	ret = bt_set_name(name);
	if (ret) {
		LOG_WRN("bt_set_name: %d", ret);
	}
	sd[0].data_len = strlen(name);

	build_payload(false);
	cur_min_ms = CONFIG_SNOWGAUGE_BLE_ADV_INT_MIN_MS;
	cur_max_ms = CONFIG_SNOWGAUGE_BLE_ADV_INT_MAX_MS;
	ret = adv_start();
	if (ret == 0) {
		LOG_INF("advertising as %s, %u-%u ms", name, cur_min_ms, cur_max_ms);
	}
	return ret;
}

int ble_adv_update(bool last_measurement_failed)
{
	int ret;

	build_payload(last_measurement_failed);
	if (!advertising) {
		return 0;
	}
	ret = bt_le_adv_update_data(ad, ARRAY_SIZE(ad), sd, ARRAY_SIZE(sd));
	if (ret && ret != -EALREADY) {
		LOG_WRN("adv update: %d", ret);
	}
	return ret;
}

int ble_adv_set_interval(uint32_t min_ms, uint32_t max_ms)
{
	int ret;

	if (advertising) {
		ret = bt_le_adv_stop();
		if (ret) {
			LOG_WRN("adv stop: %d", ret);
		}
		advertising = false;
	}
	if (max_ms == 0) {
		cur_min_ms = cur_max_ms = 0;
		return 0;
	}
	if (min_ms < 20 || max_ms > 10240 || min_ms > max_ms) {
		return -EINVAL;
	}
	cur_min_ms = min_ms;
	cur_max_ms = max_ms;
	return adv_start();
}

bool ble_adv_is_connected(void)
{
	return connected;
}

bool ble_adv_is_healthy(void)
{
	return connected || advertising || cur_max_ms == 0;
}

void ble_adv_status(void (*out)(void *ctx, const char *fmt, ...), void *ctx)
{
	char hex[2 * sizeof(mfg) + 1];

	for (size_t i = 0; i < sizeof(mfg); i++) {
		snprintf(&hex[2 * i], 3, "%02x", mfg[i]);
	}
	out(ctx, "name=%s  adv=%s (%u-%u ms)  connected=%s", name,
	    advertising ? "on" : "off", cur_min_ms, cur_max_ms, connected ? "yes" : "no");
	out(ctx, "manufacturer data: %s", hex);
}
```

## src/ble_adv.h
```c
/*
 * BLE advertising with a status payload (spec section 12.2, layer 3).
 *
 * Connectable undirected advertising at a slow interval; the device name
 * "SG-TFM-XXXX" (TFmini Plus) / "SG-TSD-XXXX" (TSD20), XXXX = last two bytes of the
 * device ID, goes in the scan response.
 * Manufacturer Data (company ID 0xFFFF = unassigned/test) carries:
 *
 *  off size field
 *    0   1  payload version (2)
 *    1   2  vbat_end_mv of the last record (0 = none)
 *    3   4  record count
 *    7   2  last distance median (cm; 0xFFFF = none / invalid)
 *    9   1  status flags (BLE_ADV_FLAG_*)
 *   10   4  epoch of the last record (0 = none)
 *   14   2  uptime (hours, saturating)
 *   16   1  consecutive boot count (1 = clean start; see diag.h)     [v2]
 *   17   1  last reset cause (enum diag_reset: 0 power/brown-out, 1 pin,
 *           2 software, 3 watchdog, 4 lockup, 5 fatal error)          [v2]
 *
 * Read with any scanner (nRF Connect) during a site visit without
 * connecting.
 */
#ifndef SNOWGAUGE_BLE_ADV_H
#define SNOWGAUGE_BLE_ADV_H

#include <stdint.h>
#include <stdbool.h>

#define BLE_ADV_COMPANY_ID     0xFFFF
#define BLE_ADV_PAYLOAD_VERSION 2

#define BLE_ADV_FLAG_TIME_SYNCED    BIT(0)
#define BLE_ADV_FLAG_TIME_ESTIMATED BIT(1)
#define BLE_ADV_FLAG_LAST_LIDAR_OK  BIT(2)
#define BLE_ADV_FLAG_FS_OK          BIT(3)
#define BLE_ADV_FLAG_MIRROR_FULL    BIT(4)
#define BLE_ADV_FLAG_LAST_MEAS_ERR  BIT(5)
#define BLE_ADV_FLAG_ABNORMAL_RESET BIT(6) /* this boot follows a watchdog / lockup / fatal reset */
#define BLE_ADV_FLAG_MEAS_HALTED    BIT(7) /* reset loop: scheduled measurements suspended */

/* Enable Bluetooth, set the name and start advertising. */
int ble_adv_init(void);

/* Rebuild the payload from storage/time state (call after each record). */
int ble_adv_update(bool last_measurement_failed);

/* Restart advertising with a new interval window (ms). 0 = stop. */
int ble_adv_set_interval(uint32_t min_ms, uint32_t max_ms);

/* True while a central is connected. */
bool ble_adv_is_connected(void);

/*
 * True when the radio side is doing what it should: advertising, or a
 * central connected, or advertising deliberately off. Watchdog condition.
 */
bool ble_adv_is_healthy(void);

/* Status for the shell. */
void ble_adv_status(void (*out)(void *ctx, const char *fmt, ...), void *ctx);

#endif /* SNOWGAUGE_BLE_ADV_H */
```

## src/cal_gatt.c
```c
/* Calibration GATT service - see cal_gatt.h */

#include <zephyr/kernel.h>
#include <zephyr/bluetooth/bluetooth.h>
#include <zephyr/bluetooth/gatt.h>
#include <zephyr/bluetooth/uuid.h>
#include <zephyr/sys/byteorder.h>
#include <zephyr/logging/log.h>
#include <string.h>
#include <stdlib.h>
#include <math.h>

#include "cal_gatt.h"
#include "app.h"
#include "config.h"
#include "sensor_rail.h"
#include "lidar.h"
#include "tilt.h"
#include "battery.h"
#include "storage.h"
#include "timekeeping.h"
#include "ble_adv.h"
#include "measure.h"

LOG_MODULE_REGISTER(cal_gatt, CONFIG_LOG_DEFAULT_LEVEL);

#define CAL_UUID(n) BT_UUID_128_ENCODE(0x53470000 + (n), 0x6E63, 0x4D61, 0x8B0C, 0x7A8E9F0B1C2D)
static const struct bt_uuid_128 uuid_svc = BT_UUID_INIT_128(CAL_UUID(1));
static const struct bt_uuid_128 uuid_live = BT_UUID_INIT_128(CAL_UUID(2));
static const struct bt_uuid_128 uuid_ctrl = BT_UUID_INIT_128(CAL_UUID(3));
static const struct bt_uuid_128 uuid_status = BT_UUID_INIT_128(CAL_UUID(4));

#define CMD_LIVE_OFF 0x00
#define CMD_LIVE_ON  0x01
#define CMD_ZERO     0x10
#define CMD_REF_DEPTH 0x11
#define CMD_ERASE    0x20

static bool live_on;
static bool live_notify_enabled;
static int8_t last_result;
static bool cmd_busy;
static uint8_t cmd_seq;
static uint32_t live_gen;          /* bumped by cal_live_stop() */
static bool records_downloaded;    /* fs mgmt read of rec_*.bin since boot */
static int64_t live_started_ms;
static uint8_t live_buf[12];

/*
 * Own work queue: ZERO (seconds) and ERASE (flash erase, seconds) must not
 * block the system work queue, which the BLE host and SMP transport use.
 */
K_THREAD_STACK_DEFINE(cal_wq_stack, 2048);
static struct k_work_q cal_wq;

static void live_work_fn(struct k_work *work);
static K_WORK_DELAYABLE_DEFINE(live_work, live_work_fn);
static void cmd_work_fn(struct k_work *work);
static K_WORK_DEFINE(cmd_work, cmd_work_fn);
static uint8_t pending_cmd;
static uint16_t pending_depth_cm;

static ssize_t read_status(struct bt_conn *conn, const struct bt_gatt_attr *attr, void *buf,
			   uint16_t len, uint16_t offset)
{
	struct app_config c;
	uint8_t st[12];

	config_get(&c);
	sys_put_le16(c.cal_d0_cm, &st[0]);
	sys_put_le16((uint16_t)c.cal_theta0_cdeg, &st[2]);
	sys_put_le32(c.cal_set_epoch, &st[4]);
	st[8] = live_on ? 1 : 0;
	st[9] = (uint8_t)last_result;
	st[10] = cmd_busy ? 1 : 0;
	st[11] = cmd_seq;
	return bt_gatt_attr_read(conn, attr, buf, len, offset, st, sizeof(st));
}

static ssize_t write_ctrl(struct bt_conn *conn, const struct bt_gatt_attr *attr, const void *buf,
			  uint16_t len, uint16_t offset, uint8_t flags)
{
	const uint8_t *d = buf;

	if (offset != 0 || len < 1) {
		return BT_GATT_ERR(BT_ATT_ERR_INVALID_OFFSET);
	}
	if (cmd_busy) {
		return BT_GATT_ERR(BT_ATT_ERR_PROCEDURE_IN_PROGRESS);
	}
	switch (d[0]) {
	case CMD_LIVE_OFF:
	case CMD_LIVE_ON:
	case CMD_ZERO:
		pending_cmd = d[0];
		pending_depth_cm = 0;
		break;
	case CMD_REF_DEPTH:
		if (len != 3) {
			return BT_GATT_ERR(BT_ATT_ERR_INVALID_ATTRIBUTE_LEN);
		}
		pending_cmd = d[0];
		pending_depth_cm = sys_get_le16(&d[1]);
		break;
	case CMD_ERASE:
		if (len != 6 || memcmp(&d[1], "ERASE", 5) != 0) {
			last_result = -EACCES;
			return BT_GATT_ERR(BT_ATT_ERR_AUTHORIZATION);
		}
		if (!records_downloaded && storage_record_count() > 0) {
			LOG_WRN("ERASE refused: records not downloaded since boot");
			last_result = -EACCES;
			return BT_GATT_ERR(BT_ATT_ERR_AUTHORIZATION);
		}
		pending_cmd = d[0];
		break;
	default:
		return BT_GATT_ERR(BT_ATT_ERR_VALUE_NOT_ALLOWED);
	}
	cmd_busy = true;
	cmd_seq++;
	last_result = 0;
	k_work_submit_to_queue(&cal_wq, &cmd_work);
	return len;
}

static void live_ccc_changed(const struct bt_gatt_attr *attr, uint16_t value)
{
	live_notify_enabled = (value == BT_GATT_CCC_NOTIFY);
}

BT_GATT_SERVICE_DEFINE(cal_svc,
	BT_GATT_PRIMARY_SERVICE(&uuid_svc),
	BT_GATT_CHARACTERISTIC(&uuid_live.uuid, BT_GATT_CHRC_NOTIFY, BT_GATT_PERM_NONE, NULL, NULL,
			       live_buf),
	BT_GATT_CCC(live_ccc_changed, BT_GATT_PERM_READ | BT_GATT_PERM_WRITE),
	BT_GATT_CHARACTERISTIC(&uuid_ctrl.uuid, BT_GATT_CHRC_WRITE, BT_GATT_PERM_WRITE, NULL,
			       write_ctrl, NULL),
	BT_GATT_CHARACTERISTIC(&uuid_status.uuid, BT_GATT_CHRC_READ, BT_GATT_PERM_READ,
			       read_status, NULL, NULL),
);

/* attribute index of the live characteristic value (service, chrc decl, value) */
#define LIVE_ATTR (&cal_svc.attrs[2])

static void live_work_fn(struct k_work *work)
{
	ARG_UNUSED(work);
	struct lidar_stats s;
	struct tilt_reading t;
	uint16_t vbat = 0;
	int n;

	if (!live_on) {
		return;
	}
	if (k_uptime_get() - live_started_ms > CAL_LIVE_TIMEOUT_S * 1000LL) {
		LOG_WRN("live mode timeout");
		cal_live_stop();
		return;
	}
	/* A scheduled measurement owns the sensors: skip this sample. */
	if (k_mutex_lock(&sensor_lock, K_MSEC(50)) != 0) {
		k_work_schedule_for_queue(&cal_wq, &live_work, K_MSEC(200));
		return;
	}
	if (!sensor_rail_is_on()) {
		(void)sensor_rail_on(); /* a measurement cut the rail meanwhile */
		k_sleep(K_MSEC(CONFIG_SNOWGAUGE_RAIL_SETTLE_MS));
	}
	n = lidar_capture(10, K_MSEC(400), &s);
	(void)tilt_read(&t, 4);
	(void)battery_read_mv(&vbat);
	k_mutex_unlock(&sensor_lock);

	sys_put_le16((n > 0 && s.n_valid > 0) ? s.dist_median_cm : 0xFFFF, &live_buf[0]);
	sys_put_le16(n > 0 ? s.strength_median : 0, &live_buf[2]);
	sys_put_le16((uint16_t)(int16_t)(t.tilt_deg * 100.0f), &live_buf[4]);
	sys_put_le16(vbat, &live_buf[6]);
	live_buf[8] = (uint8_t)MIN(s.n_valid, 255);
	live_buf[9] = (uint8_t)MIN(s.n_frames, 255);
	sys_put_le16((uint16_t)MIN(s.dist_var_cm2, 65535.0f), &live_buf[10]);

	if (live_notify_enabled) {
		(void)bt_gatt_notify(NULL, LIVE_ATTR, live_buf, sizeof(live_buf));
	}
	k_work_schedule_for_queue(&cal_wq, &live_work, K_MSEC(100));
}

static int live_start(void)
{
	int ret;

	if (live_on) {
		return 0;
	}
	ret = sensor_rail_on();
	if (ret) {
		return ret;
	}
	live_on = true;
	live_started_ms = k_uptime_get();
	k_work_schedule_for_queue(&cal_wq, &live_work, K_MSEC(200));
	LOG_INF("live mode on");
	return 0;
}

void cal_live_stop(void)
{
	if (!live_on) {
		return;
	}
	live_on = false;
	live_gen++;
	k_work_cancel_delayable(&live_work);
	k_mutex_lock(&sensor_lock, K_FOREVER); /* not while a capture is running */
	(void)sensor_rail_off();
	k_mutex_unlock(&sensor_lock);
	LOG_INF("live mode off");
}

bool cal_live_is_on(void)
{
	return live_on;
}

int cal_zero(uint16_t depth_cm, uint16_t *d0_cm, int16_t *theta0_cdeg)
{
	struct measurement m;
	struct record r;
	bool was_live = live_on;
	uint32_t gen;
	uint32_t epoch = 0;
	int ret;

	cal_live_stop();
	gen = live_gen;
	ret = app_measure_and_store(true, &m, &r);
	if (ret) {
		goto out;
	}
	if (!(r.flags & RECORD_FLAG_LIDAR_OK) || !(r.flags & RECORD_FLAG_TILT_OK)) {
		ret = -ENODATA;
		goto out;
	}
	(void)time_now(&epoch);
	/* Reference slant distance to bare ground: d0 = d + depth / cos(tilt). */
	float cos_t = cosf((float)r.tilt_cdeg / 100.0f * 3.14159265f / 180.0f);
	float d0f = (float)r.dist_median_cm + (cos_t > 0.5f ? (float)depth_cm / cos_t : (float)depth_cm);
	uint16_t d0 = (uint16_t)MIN(d0f + 0.5f, 65535.0f);

	ret = config_set_cal(d0, r.tilt_cdeg, epoch);
	if (ret == 0) {
		LOG_INF("reference: d=%u cm depth=%u cm -> d0=%u cm theta0=%d.%02d deg",
			r.dist_median_cm, depth_cm, d0, r.tilt_cdeg / 100, abs(r.tilt_cdeg % 100));
		if (d0_cm) {
			*d0_cm = d0;
		}
		if (theta0_cdeg) {
			*theta0_cdeg = r.tilt_cdeg;
		}
	}
out:
	/* Resume the live view only if it was on, nobody stopped it meanwhile
	 * (disconnect bumps live_gen) and the phone is still connected. */
	if (was_live && gen == live_gen && ble_adv_is_connected()) {
		(void)live_start();
	}
	return ret;
}

static void cmd_work_fn(struct k_work *work)
{
	ARG_UNUSED(work);
	int ret = 0;

	switch (pending_cmd) {
	case CMD_LIVE_ON:
		ret = live_start();
		break;
	case CMD_LIVE_OFF:
		cal_live_stop();
		break;
	case CMD_ZERO:
	case CMD_REF_DEPTH:
		ret = cal_zero(pending_depth_cm, NULL, NULL);
		break;
	case CMD_ERASE:
		cal_live_stop();
		ret = storage_erase_all();
		(void)ble_adv_update(false);
		LOG_WRN("ERASE over BLE: %d", ret);
		break;
	default:
		ret = -EINVAL;
	}
	last_result = (int8_t)CLAMP(ret, -127, 127);
	cmd_busy = false;
}

void cal_note_records_downloaded(void)
{
	records_downloaded = true;
}

int cal_gatt_init(void)
{
	k_work_queue_start(&cal_wq, cal_wq_stack, K_THREAD_STACK_SIZEOF(cal_wq_stack),
			   K_PRIO_PREEMPT(10), NULL);
	k_thread_name_set(&cal_wq.thread, "cal_wq");
	return 0;
}
```

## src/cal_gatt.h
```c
/*
 * Calibration GATT service (spec section 12.2, layer 2).
 *
 * Service  53470001-6E63-4D61-8B0C-7A8E9F0B1C2D
 *  live    53470002-...  notify, 12 bytes LE every ~250 ms while enabled:
 *                        dist_cm u16 (0xFFFF none), strength u16, tilt_cdeg i16,
 *                        vbat_mv u16, n_valid u8, n_frames u8, var_cm2 u16
 *  control 53470003-...  write: 0x00 live off, 0x01 live on,
 *                        0x10 ZERO (no snow: d0 = measured distance),
 *                        0x11 + u16 depth_cm: reference from a probed snow depth
 *                             (d0 = d + depth / cos(tilt)),
 *                        0x20 'E' 'R' 'A' 'S' 'E' erase all records
 *  status  53470004-...  read, 12 bytes LE: d0_cm u16, theta0_cdeg i16,
 *                        set_epoch u32, live u8, last_cmd_result i8,
 *                        busy u8 (a command is running), cmd_seq u8
 *                        (incremented per accepted command; poll until busy
 *                        == 0 and cmd_seq matches, then read last_cmd_result)
 *
 * Writes while busy are rejected (ATT "procedure already in progress").
 * ERASE is refused (-EACCES) unless the record files were downloaded since
 * boot (fs mgmt read of rec_*.bin) or there are no records.
 *
 * Live mode keeps the sensor rail on and burns ~120 mA: the phone page
 * turns it off, and it also times out after CAL_LIVE_TIMEOUT_S.
 */
#ifndef SNOWGAUGE_CAL_GATT_H
#define SNOWGAUGE_CAL_GATT_H

#include <stdint.h>
#include <stdbool.h>

#define CAL_LIVE_TIMEOUT_S 300

int cal_gatt_init(void);
bool cal_live_is_on(void);
void cal_live_stop(void);

/* fs mgmt hook: a record file was read since boot (unlocks ERASE). */
void cal_note_records_downloaded(void);

/*
 * Take the reference from one full measurement (also stores a record).
 * depth_cm = current snow depth measured with a probe (0 = bare ground / ZERO).
 */
int cal_zero(uint16_t depth_cm, uint16_t *d0_cm, int16_t *theta0_cdeg);

#endif /* SNOWGAUGE_CAL_GATT_H */
```

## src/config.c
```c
/* Persistent configuration - see config.h */

#include <zephyr/kernel.h>
#include <zephyr/settings/settings.h>
#include <zephyr/logging/log.h>
#include <string.h>
#include <stdlib.h>

#include "config.h"

LOG_MODULE_REGISTER(config, CONFIG_LOG_DEFAULT_LEVEL);

static struct app_config cfg = {
	.sched_start_min = 0,
	.sched_end_min = 0,
	.sched_interval_min = CONFIG_SNOWGAUGE_SCHED_DEFAULT_INTERVAL_MIN,
	.tz_min = CONFIG_SNOWGAUGE_SCHED_DEFAULT_TZ_MIN,
};
static K_MUTEX_DEFINE(lock);
static void (*change_cb)(void);

struct key_map {
	const char *name;
	void *ptr;
	size_t size;
};

#define KEY(n, f) { n, &cfg.f, sizeof(cfg.f) }
static const struct key_map keys[] = {
	KEY("sched/start_min", sched_start_min),
	KEY("sched/end_min", sched_end_min),
	KEY("sched/interval_min", sched_interval_min),
	KEY("sched/tz_min", tz_min),
	KEY("cal/d0_cm", cal_d0_cm),
	KEY("cal/theta0_cdeg", cal_theta0_cdeg),
	KEY("cal/set_epoch", cal_set_epoch),
};

static const struct key_map *find_key(const char *name)
{
	for (size_t i = 0; i < ARRAY_SIZE(keys); i++) {
		if (strcmp(keys[i].name, name) == 0) {
			return &keys[i];
		}
	}
	return NULL;
}

static bool validate(void)
{
	return cfg.sched_start_min < 1440 && cfg.sched_end_min < 1440 &&
	       cfg.sched_interval_min <= 1440 &&
	       cfg.tz_min >= -14 * 60 && cfg.tz_min <= 14 * 60;
}

static int sg_set(const char *name, size_t len, settings_read_cb read_cb, void *cb_arg)
{
	const struct key_map *k = find_key(name);
	uint8_t tmp[8];

	if (!k) {
		return -ENOENT;
	}
	if (len != k->size) {
		LOG_WRN("setting %s: bad length %u (want %u)", name, (unsigned int)len,
			(unsigned int)k->size);
		return -EINVAL;
	}
	if (read_cb(cb_arg, tmp, len) != (ssize_t)len) {
		return -EIO;
	}
	k_mutex_lock(&lock, K_FOREVER);
	struct app_config saved = cfg;

	memcpy(k->ptr, tmp, len);
	if (!validate()) {
		cfg = saved;
		k_mutex_unlock(&lock);
		LOG_WRN("setting %s: value out of range, rejected", name);
		return -EINVAL;
	}
	k_mutex_unlock(&lock);
	if (change_cb) {
		change_cb();
	}
	return 0;
}

static int sg_get(const char *name, char *val, int val_len_max)
{
	const struct key_map *k = find_key(name);

	if (!k) {
		return -ENOENT;
	}
	if (val_len_max < (int)k->size) {
		return -ENOMEM;
	}
	k_mutex_lock(&lock, K_FOREVER);
	memcpy(val, k->ptr, k->size);
	k_mutex_unlock(&lock);
	return (int)k->size;
}

static int sg_export(int (*cb)(const char *name, const void *value, size_t val_len))
{
	char name[40];

	for (size_t i = 0; i < ARRAY_SIZE(keys); i++) {
		snprintk(name, sizeof(name), "sg/%s", keys[i].name);
		int ret = cb(name, keys[i].ptr, keys[i].size);

		if (ret) {
			return ret;
		}
	}
	return 0;
}

SETTINGS_STATIC_HANDLER_DEFINE(sg, "sg", sg_get, sg_set, NULL, sg_export);

int config_init(void)
{
	int ret = settings_subsys_init();

	if (ret) {
		LOG_ERR("settings init: %d", ret);
		return ret;
	}
	ret = settings_load_subtree("sg");
	if (ret) {
		LOG_ERR("settings load: %d", ret);
		return ret;
	}
	LOG_INF("schedule %02u:%02u-%02u:%02u every %u min (tz %+d min); d0=%u cm theta0=%d.%02d deg",
		cfg.sched_start_min / 60, cfg.sched_start_min % 60, cfg.sched_end_min / 60,
		cfg.sched_end_min % 60, cfg.sched_interval_min, cfg.tz_min, cfg.cal_d0_cm,
		cfg.cal_theta0_cdeg / 100, abs(cfg.cal_theta0_cdeg % 100));
	return 0;
}

void config_get(struct app_config *out)
{
	k_mutex_lock(&lock, K_FOREVER);
	*out = cfg;
	k_mutex_unlock(&lock);
}

int config_set(const struct app_config *in)
{
	int ret;

	k_mutex_lock(&lock, K_FOREVER);
	struct app_config saved = cfg;

	cfg = *in;
	if (!validate()) {
		cfg = saved;
		k_mutex_unlock(&lock);
		return -EINVAL;
	}
	k_mutex_unlock(&lock);
	ret = settings_save_subtree("sg");
	if (change_cb) {
		change_cb();
	}
	return ret;
}

int config_set_cal(uint16_t d0_cm, int16_t theta0_cdeg, uint32_t epoch)
{
	int ret;

	k_mutex_lock(&lock, K_FOREVER);
	cfg.cal_d0_cm = d0_cm;
	cfg.cal_theta0_cdeg = theta0_cdeg;
	cfg.cal_set_epoch = epoch;
	k_mutex_unlock(&lock);
	/*
	 * settings_save_subtree() matches the *handler* name ("sg"), so a deeper
	 * subtree silently saves nothing. Save the three keys explicitly.
	 */
	ret = settings_save_one("sg/cal/d0_cm", &cfg.cal_d0_cm, sizeof(cfg.cal_d0_cm));
	if (ret == 0) {
		ret = settings_save_one("sg/cal/theta0_cdeg", &cfg.cal_theta0_cdeg,
					sizeof(cfg.cal_theta0_cdeg));
	}
	if (ret == 0) {
		ret = settings_save_one("sg/cal/set_epoch", &cfg.cal_set_epoch,
					sizeof(cfg.cal_set_epoch));
	}
	return ret;
}

uint32_t config_next_measurement(uint32_t now_epoch)
{
	struct app_config c;

	config_get(&c);
	if (c.sched_interval_min == 0) {
		return 0;
	}

	uint32_t iv = (uint32_t)c.sched_interval_min * 60U;
	int64_t local = (int64_t)now_epoch + (int64_t)c.tz_min * 60;
	int64_t day0 = local - (local % 86400); /* local midnight, as a local timestamp */
	uint32_t start = (uint32_t)c.sched_start_min * 60U;
	uint32_t end = (uint32_t)c.sched_end_min * 60U;

	/*
	 * Candidate windows: the one that opened today and, if it spans
	 * midnight, the one that opened yesterday; pick the earliest slot >= now.
	 */
	for (int d = -1; d <= 1; d++) {
		int64_t w_start = day0 + d * 86400 + start;
		int64_t w_end;

		if (start == end) {
			w_end = w_start + 86400; /* all day */
		} else if (end > start) {
			w_end = day0 + d * 86400 + end;
		} else {
			w_end = day0 + (d + 1) * 86400 + end; /* spans midnight */
		}
		int64_t slot;

		if (local < w_start) {
			slot = w_start;
		} else {
			slot = w_start + ((local - w_start + iv - 1) / iv) * iv;
		}
		if (slot < w_end || (slot == w_end && start != end)) {
			return (uint32_t)(slot - (int64_t)c.tz_min * 60);
		}
	}
	return 0; /* cannot happen: the d = +1 window always yields a slot */
}

void config_set_change_cb(void (*cb)(void))
{
	change_cb = cb;
}
```
